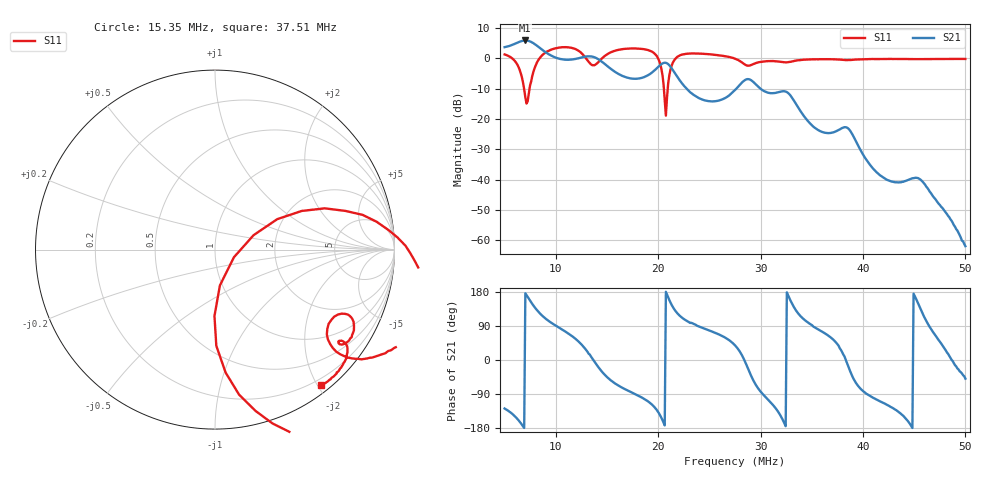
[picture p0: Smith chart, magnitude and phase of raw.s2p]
! S11/S21 only; reverse parameters are placeholders. Device calibration unverified.
! NanoVNA F V2 profile | COM3 | 2026-09-08T11:15:00.2101920-04:00 | device calibration unverified
# HZ S RI R 50
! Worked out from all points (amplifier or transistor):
!   401 points, 5 MHz to 50 MHz, reference 50 ohm
!   highest |S21| = 5.9 dB at 7.025 MHz (marker M1)
!   |S21| within 3 dB of that: start of sweep to 8.645 MHz
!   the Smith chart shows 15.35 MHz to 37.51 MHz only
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5000000  1.13 -0.2561  -0.9406 -1.204  0 0  0 0
6125000  0.6437 -0.5505  -1.565 -0.8356  0 0  0 0
7025000  0.1783 -0.1416  -1.965 0.1371  0 0  0 0
8150000  0.4797 -0.7006  -1.082 1.203  0 0  0 0
1.02875e7  -0.0967 -1.496  0.0735 0.9878  0 0  0 0
1.1525e7  -0.7352 -1.296  0.4149 0.8597  0 0  0 0
1.25375e7  -1.124 -0.4356  0.7915 0.6674  0 0  0 0
1.3775e7  -0.0362 0.7707  1.039 -0.079  0 0  0 0
1.5575e7  1.297 -0.0527  0.3374 -0.537  0 0  0 0
1.83875e7  1.095 -0.9205  -0.0728 -0.4706  0 0  0 0
2.0075e7  0.2259 -0.8988  -0.5737 -0.4708  0 0  0 0
2.075e7  0.1053 -0.0428  -0.8431 0.000161  0 0  0 0
2.12e7  0.6117 0.2299  -0.6406 0.3469  0 0  0 0
2.26625e7  1.159 -0.2267  -0.0874 0.3201  0 0  0 0
2.75e7  0.7788 -0.6083  0.2337 0.1876  0 0  0 0
2.9525e7  0.7491 -0.3678  0.1569 -0.3395  0 0  0 0
3.23375e7  0.6887 -0.5184  -0.2802 -0.0609  0 0  0 0
3.50375e7  0.7037 -0.6569  -0.0022 0.0785  0 0  0 0
3.8525e7  0.558 -0.7502  0.0684 -0.0174  0 0  0 0
4.2575e7  0.4358 -0.8732  -0.00505 -0.00821  0 0  0 0
4.56125e7  0.3181 -0.9161  -0.00712 0.00711  0 0  0 0
5e7  0.1599 -0.9638  0.000526 -0.00061  0 0  0 0
